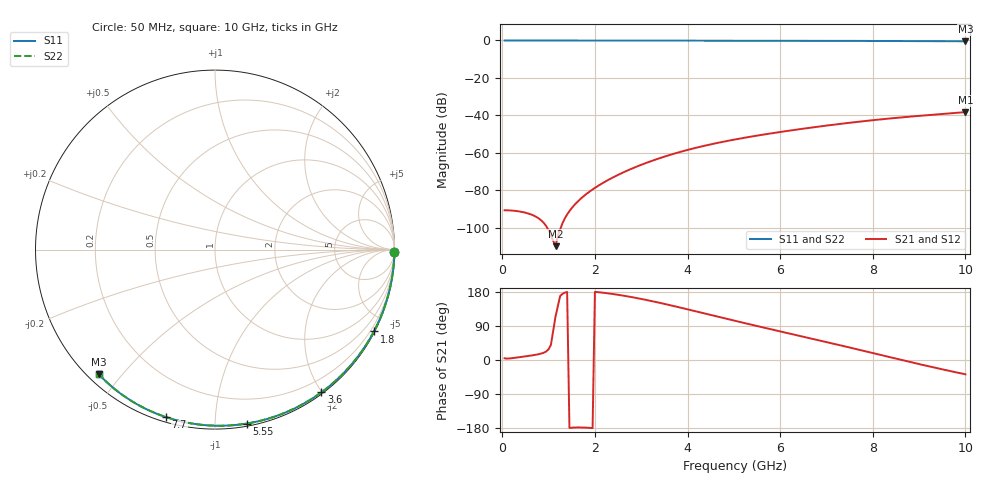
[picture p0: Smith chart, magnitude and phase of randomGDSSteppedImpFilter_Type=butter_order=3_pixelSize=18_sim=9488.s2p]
! freq	dB(S11)	phase(S11)	dB(S12)	phase(S12)
!  dB(S21)	phase(S21)	dB(S22)	phase(S22)
!S-par simulation data
#  GHz  S  DB  R 50
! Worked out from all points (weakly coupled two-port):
!   200 points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, 50 MHz to 10 GHz, reference 50 ohm
!   highest |S21| = -38.29 dB at 10 GHz (marker M1); lowest = -109.9 dB at 1.15 GHz (marker M2)
!   lowest |S11| = -0.4 dB at 10 GHz (marker M3), VSWR 38.62, Z = 1.54 - j21.7 ohm
!   |S11| at or under -10 dB: nowhere
!   |S22| runs from -0.4 to 0.0 dB; largest |S21 - S12| = 0
!   S11 on the Smith chart (normalised r, x): 50 MHz: open; 1.8 GHz: 0.04, -4.13; 3.6 GHz: 0.02, -1.99; 5.55 GHz: 0.02, -1.20; 7.7 GHz: 0.02, -0.75; 10 GHz: 0.03, -0.43
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0.05  -0.00 -0.8  -90.73 4.5  -90.73 4.5  -0.00 -0.8
0.6  -0.01 -9.2  -92.79 11.4  -92.79 11.4  -0.01 -9.2
1.15  -0.02 -17.5  -109.93 115.3  -109.93 115.3  -0.02 -17.5
1.75  -0.03 -26.5  -83.36 -178.2  -83.36 -178.2  -0.03 -26.5
1.8  -0.03 -27.2  -82.35 -178.4  -82.35 -178.4  -0.03 -27.2
1.9  -0.04 -28.7  -80.49 -179.2  -80.49 -179.2  -0.04 -28.7
1.95  -0.04 -29.5  -79.62 -179.7  -79.62 -179.7  -0.04 -29.5
2.25  -0.04 -33.9  -75.04 176.4  -75.04 176.4  -0.04 -33.9
2.55  -0.05 -38.3  -71.23 171.1  -71.23 171.1  -0.05 -38.3
2.95  -0.06 -44.1  -66.93 162.4  -66.93 162.4  -0.06 -44.1
3.4  -0.07 -50.5  -62.89 150.9  -62.89 150.9  -0.07 -50.5
3.6  -0.07 -53.3  -61.31 145.3  -61.31 145.3  -0.07 -53.3
3.9  -0.08 -57.5  -59.17 136.7  -59.17 136.7  -0.08 -57.5
4.3  -0.09 -63.0  -56.65 124.9  -56.65 124.9  -0.09 -63.0
5.05  -0.11 -73.0  -52.79 102.7  -52.79 102.7  -0.11 -73.0
5.55  -0.13 -79.6  -50.65 88.2  -50.65 88.2  -0.13 -79.6
6.1  -0.15 -86.6  -48.55 72.7  -48.55 72.7  -0.15 -86.6
6.7  -0.18 -94.1  -46.47 55.8  -46.47 55.8  -0.18 -94.1
7.7  -0.24 -106.3  -43.42 27.2  -43.42 27.2  -0.24 -106.3
8.35  -0.29 -114.0  -41.74 8.1  -41.74 8.1  -0.29 -114.0
9.15  -0.36 -123.3  -39.99 -15.0  -39.99 -15.0  -0.36 -123.3
10  -0.45 -133.1  -38.29 -37.8  -38.29 -37.8  -0.45 -133.1
